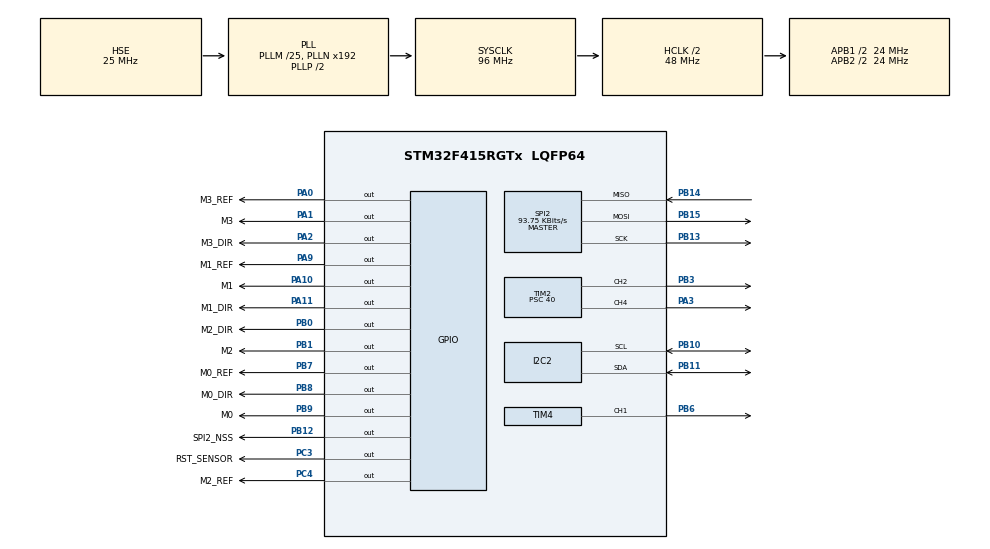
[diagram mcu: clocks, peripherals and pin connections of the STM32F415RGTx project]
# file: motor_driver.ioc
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I2C2.OwnAddress=68
Mcu.Family=STM32F4
Mcu.Name=STM32F415RGTx
Mcu.Package=LQFP64
NVIC.PriorityGroup=NVIC_PRIORITYGROUP_4
NVIC.TIM1_BRK_TIM9_IRQn=true\:0\:0\:false\:false\:true\:true
NVIC.TIM1_CC_IRQn=true\:0\:0\:false\:false\:true\:true
NVIC.TIM1_TRG_COM_TIM11_IRQn=true\:0\:0\:false\:false\:true\:true
NVIC.TIM1_UP_TIM10_IRQn=true\:0\:0\:false\:false\:true\:true
PA0-WKUP.GPIO_Label=M3_REF
PA0-WKUP.Signal=GPIO_Output
PA1.GPIO_Label=M3
PA1.Signal=GPIO_Output
PA10.GPIO_Label=M1
PA10.Signal=GPIO_Output
PA11.GPIO_Label=M1_DIR
PA11.Signal=GPIO_Output
PA13.Mode=Serial_Wire
PA13.Signal=SYS_JTMS-SWDIO
PA14.Mode=Serial_Wire
PA14.Signal=SYS_JTCK-SWCLK
PA2.GPIO_Label=M3_DIR
PA2.Signal=GPIO_Output
PA3.Signal=S_TIM2_CH4
PA9.GPIO_Label=M1_REF
PA9.Signal=GPIO_Output
PB0.GPIO_Label=M2_DIR
PB0.Signal=GPIO_Output
PB1.GPIO_Label=M2
PB1.Signal=GPIO_Output
PB10.Mode=I2C
PB10.Signal=I2C2_SCL
PB11.Mode=I2C
PB11.Signal=I2C2_SDA
PB12.GPIO_Label=SPI2_NSS
PB12.Signal=GPIO_Output
PB13.Mode=Full_Duplex_Master
PB13.Signal=SPI2_SCK
PB14.Mode=Full_Duplex_Master
PB14.Signal=SPI2_MISO
PB15.Mode=Full_Duplex_Master
PB15.Signal=SPI2_MOSI
PB3.Signal=S_TIM2_CH2
PB6.Signal=S_TIM4_CH1
PB7.GPIO_Label=M0_REF
PB7.Signal=GPIO_Output
PB8.GPIO_Label=M0_DIR
PB8.Signal=GPIO_Output
PB9.GPIO_Label=M0
PB9.Signal=GPIO_Output
PC3.GPIO_Label=RST_SENSOR
PC3.Signal=GPIO_Output
PC4.GPIO_Label=M2_REF
PC4.Signal=GPIO_Output
PH0-OSC_IN.Mode=HSE-External-Oscillator
PH0-OSC_IN.Signal=RCC_OSC_IN
PH1-OSC_OUT.Mode=HSE-External-Oscillator
PH1-OSC_OUT.Signal=RCC_OSC_OUT
ProjectManager.HeapSize=0x200
ProjectManager.StackSize=0x400
ProjectManager.TargetToolchain=SW4STM32
RCC.48MHZClocksFreq_Value=48000000
RCC.AHBCLKDivider=RCC_SYSCLK_DIV2
RCC.AHBFreq_Value=48000000
RCC.APB1CLKDivider=RCC_HCLK_DIV2
RCC.APB1Freq_Value=24000000
RCC.APB1TimFreq_Value=48000000
RCC.APB2CLKDivider=RCC_HCLK_DIV2
RCC.APB2Freq_Value=24000000
RCC.APB2TimFreq_Value=48000000
RCC.CortexFreq_Value=48000000
RCC.HCLKFreq_Value=48000000
RCC.HSE_VALUE=25000000
RCC.HSI_VALUE=16000000
RCC.LSE_VALUE=32768
RCC.PLLM=25
RCC.PLLSourceVirtual=RCC_PLLSOURCE_HSE
RCC.SYSCLKFreq_VALUE=96000000
RCC.SYSCLKSource=RCC_SYSCLKSOURCE_PLLCLK
RCC.VCOOutputFreq_Value=192000000
SH.S_TIM2_CH2.0=TIM2_CH2,PWM Generation2 CH2
SH.S_TIM2_CH4.0=TIM2_CH4,PWM Generation4 CH4
SH.S_TIM4_CH1.0=TIM4_CH1,PWM Generation1 CH1
SPI2.BaudRatePrescaler=SPI_BAUDRATEPRESCALER_256
SPI2.CLKPhase=SPI_PHASE_2EDGE
SPI2.CLKPolarity=SPI_POLARITY_HIGH
SPI2.CalculateBaudRate=93.75 KBits/s
SPI2.Direction=SPI_DIRECTION_2LINES
SPI2.Mode=SPI_MODE_MASTER
SPI2.VirtualType=VM_MASTER
TIM1.Channel-Output\ Compare1\ No\ Output=TIM_CHANNEL_1
TIM1.Channel-Output\ Compare2\ No\ Output=TIM_CHANNEL_2
TIM1.Channel-Output\ Compare3\ No\ Output=TIM_CHANNEL_3
TIM1.Channel-Output\ Compare4\ No\ Output=TIM_CHANNEL_4
TIM1.Period=48000
TIM1.Prescaler=0
TIM2.Channel-PWM\ Generation2\ CH2=TIM_CHANNEL_2
TIM2.Channel-PWM\ Generation4\ CH4=TIM_CHANNEL_4
TIM2.Period=24000
TIM2.Prescaler=40
TIM4.Channel-PWM\ Generation1\ CH1=TIM_CHANNEL_1
TIM4.Period=24000
TIM4.Prescaler=40
VP_TIM1_VS_no_output1.Mode=Output Compare1 No Output
VP_TIM1_VS_no_output2.Mode=Output Compare2 No Output
VP_TIM1_VS_no_output3.Mode=Output Compare3 No Output
VP_TIM1_VS_no_output4.Mode=Output Compare4 No Output
board=motor_driver

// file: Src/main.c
/**
  ******************************************************************************
  * @file           : main.c
  * @brief          : Main program body
  ******************************************************************************
  ** This notice applies to any and all portions of this file
  * that are not between comment pairs USER CODE BEGIN and
  * USER CODE END. Other portions of this file, whether
  * inserted by the user or by software development tools
  * are owned by their respective copyright owners.
  *
  * COPYRIGHT(c) 2018 STMicroelectronics
  *
  * Redistribution and use in source and binary forms, with or without modification,
  * are permitted provided that the following conditions are met:
  *   1. Redistributions of source code must retain the above copyright notice,
  *      this list of conditions and the following disclaimer.
  *   2. Redistributions in binary form must reproduce the above copyright notice,
  *      this list of conditions and the following disclaimer in the documentation
  *      and/or other materials provided with the distribution.
  *   3. Neither the name of STMicroelectronics nor the names of its contributors
  *      may be used to endorse or promote products derived from this software
  *      without specific prior written permission.
  *
  * THIS SOFTWARE IS PROVIDED BY THE COPYRIGHT HOLDERS AND CONTRIBUTORS "AS IS"
  * AND ANY EXPRESS OR IMPLIED WARRANTIES, INCLUDING, BUT NOT LIMITED TO, THE
  * IMPLIED WARRANTIES OF MERCHANTABILITY AND FITNESS FOR A PARTICULAR PURPOSE ARE
  * DISCLAIMED. IN NO EVENT SHALL THE COPYRIGHT HOLDER OR CONTRIBUTORS BE LIABLE
  * FOR ANY DIRECT, INDIRECT, INCIDENTAL, SPECIAL, EXEMPLARY, OR CONSEQUENTIAL
  * DAMAGES (INCLUDING, BUT NOT LIMITED TO, PROCUREMENT OF SUBSTITUTE GOODS OR
  * SERVICES; LOSS OF USE, DATA, OR PROFITS; OR BUSINESS INTERRUPTION) HOWEVER
  * CAUSED AND ON ANY THEORY OF LIABILITY, WHETHER IN CONTRACT, STRICT LIABILITY,
  * OR TORT (INCLUDING NEGLIGENCE OR OTHERWISE) ARISING IN ANY WAY OUT OF THE USE
  * OF THIS SOFTWARE, EVEN IF ADVISED OF THE POSSIBILITY OF SUCH DAMAGE.
  *
  ******************************************************************************
  */
#include "main.h"
#include "stm32f4xx_hal.h"
#include "i2c.h"
#include "spi.h"
#include "tim.h"
#include "gpio.h"

/* USER CODE BEGIN Includes */

#include "pid.h"

#define SERVO_MID_BACK  1750
#define SERVO_MID_FRONT 1790
#define MPU6050reg 0xD0

/* USER CODE END Includes */

/* USER CODE BEGIN PV */

/* Private variables ---------------------------------------------------------*/

#define dataSize 5
#define rxSize 6
#define N_SENSORS 2
#define N_DISTANCES N_SENSORS*2
uint8_t data[dataSize] = { 0xAA, 0x00, 0x35, 0x19, 0x56 };
uint8_t rxBuf[rxSize] = { 0 };
uint8_t GyroAccConfig[6] = { 0x1B, 0x08, 0x1C, 0x08, 0x6B, 0x00 }; // {Gyro Sense 500/s , Acc Sense 4g, Wake MPU6050}

uint8_t sensorIDs[N_SENSORS] = { 0x18, 0x20 };
uint16_t distances[N_DISTANCES] = { 0 };

typedef struct

{
	uint16_t AccX;
	uint16_t AccY;
	uint16_t AccZ;
	uint16_t Temp;
	uint16_t GyX;
	uint16_t GyY;
	uint16_t GyZ;
} GyroAcc;

/* USER CODE END PV */

void SystemClock_Config(void);

/* USER CODE BEGIN PFP */

/* Private function prototypes -----------------------------------------------*/
void setMotors(uint8_t Spd, uint8_t Bal);
void readSensor(uint8_t ID, uint16_t data[]);
void resetSensors();
/* USER CODE END PFP */

int main(void)
{

  /* MCU Configuration----------------------------------------------------------*/

  /* Reset of all peripherals, Initializes the Flash interface and the Systick. */
  HAL_Init();

  /* Configure the system clock */
  SystemClock_Config();

  /* Initialize all configured peripherals */
  MX_GPIO_Init();
  MX_TIM2_Init();
  MX_TIM4_Init();
  MX_TIM1_Init();
  MX_SPI2_Init();
  MX_I2C2_Init();
  /* USER CODE BEGIN 2 */

	HAL_TIM_Base_Start_IT(&htim1);
	HAL_TIM_OC_Start_IT(&htim1, TIM_CHANNEL_1);
	HAL_TIM_OC_Start_IT(&htim1, TIM_CHANNEL_2);
	HAL_TIM_OC_Start_IT(&htim1, TIM_CHANNEL_3);
	HAL_TIM_OC_Start_IT(&htim1, TIM_CHANNEL_4);

	HAL_TIM_Base_Start(&htim2);
	HAL_TIM_Base_Start(&htim4);
	HAL_TIM_PWM_Start(&htim2, TIM_CHANNEL_4);
	HAL_TIM_PWM_Start(&htim2, TIM_CHANNEL_2);
	HAL_TIM_PWM_Start(&htim4, TIM_CHANNEL_1);

	htim2.Instance->CCR4 = SERVO_MID_BACK;
	htim2.Instance->CCR2 = SERVO_MID_BACK;
	htim4.Instance->CCR1 = SERVO_MID_FRONT;

	HAL_GPIO_WritePin(M0_REF_GPIO_Port, M0_REF_Pin, SET);
	HAL_GPIO_WritePin(M1_REF_GPIO_Port, M1_REF_Pin, SET);
	HAL_GPIO_WritePin(M2_REF_GPIO_Port, M2_REF_Pin, SET);
	HAL_GPIO_WritePin(M3_REF_GPIO_Port, M3_REF_Pin, SET);
	HAL_GPIO_WritePin(M0_DIR_GPIO_Port, M0_DIR_Pin, RESET);
	HAL_GPIO_WritePin(M1_DIR_GPIO_Port, M1_DIR_Pin, RESET);
	HAL_GPIO_WritePin(M2_DIR_GPIO_Port, M2_DIR_Pin, SET);
	HAL_GPIO_WritePin(M3_DIR_GPIO_Port, M3_DIR_Pin, SET);

	HAL_SPI_Init(&hspi2);

	HAL_GPIO_WritePin(RST_SENSOR_GPIO_Port, RST_SENSOR_Pin, SET);

	HAL_Delay(1000);
	//I2C INITIALIZATION

	pid steering_pid = {
			/*Reset integral and whatever*/
			PID_INIT,

			/*PID settings*/
			.Kp = 100,
			.Ki = 0,
			.Kd = 0,
	};

  /* USER CODE END 2 */

  /* Infinite loop */
  /* USER CODE BEGIN WHILE */

	while (1) {

		HAL_Delay(20);

		/*
		 for (int i = 0; i < rxSize; i++) {
		 rxBuf[i] = 0;
		 }
		 */

		for (int i = 0; i < N_SENSORS; i++) {
			readSensor(sensorIDs[i], (uint8_t*)&distances[i * 2]);
		}

		for(int i = 0; i < N_DISTANCES; i++){
			//if(distances[i]==0)   {resetSensors();}
			if(distances[i]>255) {distances[i] = 255;}
		}

		HAL_I2C_Master_Transmit(&hi2c2, MPU6050reg, &GyroAccConfig[0], 2, 1000); // CONFIG GYRO SENSITIVITY to 500 - default 250 degrees/second
		HAL_I2C_Master_Transmit(&hi2c2, MPU6050reg, &GyroAccConfig[2], 2, 1000); // CONFIG ACC SENSE to 4g - default 2g
		HAL_I2C_Master_Transmit(&hi2c2, MPU6050reg, &GyroAccConfig[4], 2, 1000); // Wake AccGyro

		float steer = pid_update(NULL, 120, distances[0], 1);

		setMotors(distances[0], distances[2]);

  /* USER CODE END WHILE */

	}

}

void SystemClock_Config(void)
{

  RCC_OscInitTypeDef RCC_OscInitStruct;
  RCC_ClkInitTypeDef RCC_ClkInitStruct;

    /**Configure the main internal regulator output voltage
    */
  __HAL_RCC_PWR_CLK_ENABLE();

  __HAL_PWR_VOLTAGESCALING_CONFIG(PWR_REGULATOR_VOLTAGE_SCALE1);

    /**Initializes the CPU, AHB and APB busses clocks
    */
  RCC_OscInitStruct.OscillatorType = RCC_OSCILLATORTYPE_HSE;
  RCC_OscInitStruct.HSEState = RCC_HSE_ON;
  RCC_OscInitStruct.PLL.PLLState = RCC_PLL_ON;
  RCC_OscInitStruct.PLL.PLLSource = RCC_PLLSOURCE_HSE;
  RCC_OscInitStruct.PLL.PLLM = 25;
  RCC_OscInitStruct.PLL.PLLN = 192;
  RCC_OscInitStruct.PLL.PLLP = RCC_PLLP_DIV2;
  RCC_OscInitStruct.PLL.PLLQ = 4;
  if (HAL_RCC_OscConfig(&RCC_OscInitStruct) != HAL_OK)
  {
    _Error_Handler(__FILE__, __LINE__);
  }

    /**Initializes the CPU, AHB and APB busses clocks
    */
  RCC_ClkInitStruct.ClockType = RCC_CLOCKTYPE_HCLK|RCC_CLOCKTYPE_SYSCLK
                              |RCC_CLOCKTYPE_PCLK1|RCC_CLOCKTYPE_PCLK2;
  RCC_ClkInitStruct.SYSCLKSource = RCC_SYSCLKSOURCE_PLLCLK;
  RCC_ClkInitStruct.AHBCLKDivider = RCC_SYSCLK_DIV2;
  RCC_ClkInitStruct.APB1CLKDivider = RCC_HCLK_DIV2;
  RCC_ClkInitStruct.APB2CLKDivider = RCC_HCLK_DIV2;

  if (HAL_RCC_ClockConfig(&RCC_ClkInitStruct, FLASH_LATENCY_1) != HAL_OK)
  {
    _Error_Handler(__FILE__, __LINE__);
  }

    /**Configure the Systick interrupt time
    */
  HAL_SYSTICK_Config(HAL_RCC_GetHCLKFreq()/1000);

    /**Configure the Systick
    */
  HAL_SYSTICK_CLKSourceConfig(SYSTICK_CLKSOURCE_HCLK);

  /* SysTick_IRQn interrupt configuration */
  HAL_NVIC_SetPriority(SysTick_IRQn, 0, 0);
}

/* USER CODE BEGIN 4 */
void setMotors(uint8_t Spd, uint8_t Bal) {

	htim1.Instance->CCR1 = Spd * 180;
	htim1.Instance->CCR2 = Spd * 180;
	htim1.Instance->CCR3 = 48000 - Spd * 180;
	htim1.Instance->CCR4 = 48000 - Spd * 180;

	htim2.Instance->CCR2 = SERVO_MID_BACK  + (Bal-128) * 4;
	htim2.Instance->CCR4 = SERVO_MID_BACK  + (Bal-128) * 4;
	htim4.Instance->CCR1 = SERVO_MID_FRONT + (Bal-128) * 4;
}

void readSensor(uint8_t ID, uint16_t data[]) {
	HAL_GPIO_WritePin(SPI2_NSS_GPIO_Port, SPI2_NSS_Pin, RESET);

	HAL_SPI_DeInit(&hspi2);
	hspi2.Init.CLKPhase = SPI_PHASE_2EDGE;
	HAL_SPI_Init(&hspi2);

	uint8_t txBuf[2] = {ID, 0x00};

	HAL_SPI_Transmit(&hspi2, txBuf, 2, 800); // Transmit ID

	HAL_SPI_DeInit(&hspi2);
	hspi2.Init.CLKPhase = SPI_PHASE_1EDGE;
	HAL_SPI_Init(&hspi2);

	HAL_SPI_Receive(&hspi2, rxBuf, rxSize, 800);

	HAL_GPIO_WritePin(SPI2_NSS_GPIO_Port, SPI2_NSS_Pin, SET);

	for (int i = 0; i < rxSize - 1; i++) {
		rxBuf[i] = (rxBuf[i] << 1) | ((rxBuf[i + 1] & 0x80) >> 7);
	}

	data[0] = rxBuf[1] | (rxBuf[2] << 8);
	data[1] = rxBuf[3] | (rxBuf[4] << 8);
}

void resetSensors(){
	HAL_GPIO_WritePin(RST_SENSOR_GPIO_Port, RST_SENSOR_Pin, RESET);
	HAL_Delay(2);
	HAL_GPIO_WritePin(RST_SENSOR_GPIO_Port, RST_SENSOR_Pin, SET);
	HAL_Delay(1000);
};

/* USER CODE END 4 */

void _Error_Handler(char *file, int line)
{
	while (1) {
	}
}

/************************ (C) COPYRIGHT STMicroelectronics *****END OF FILE****/
